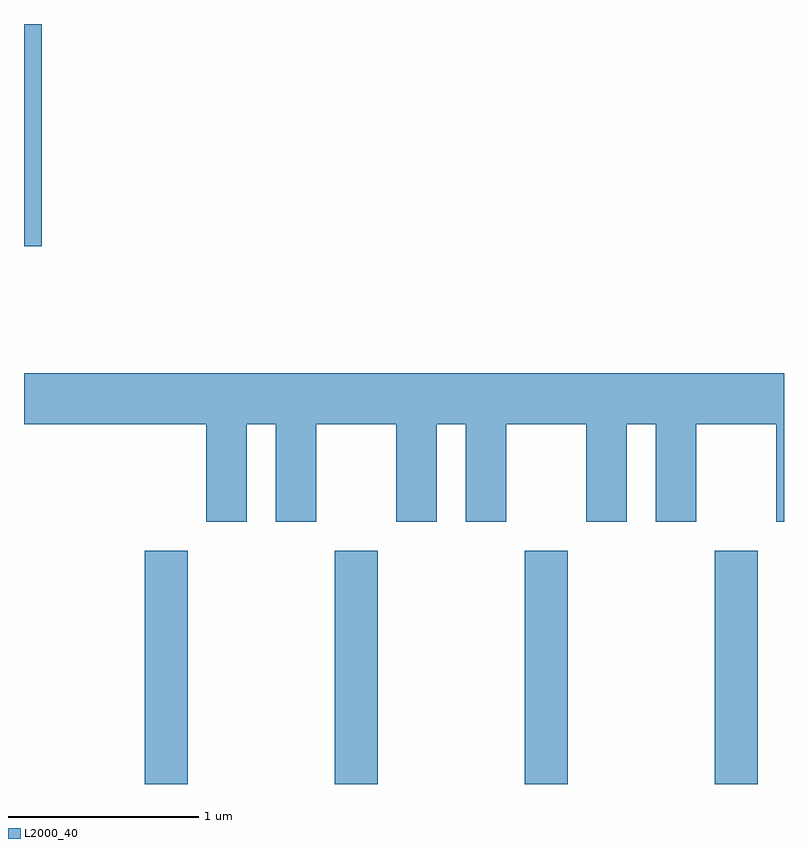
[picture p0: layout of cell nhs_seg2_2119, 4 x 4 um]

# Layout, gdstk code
import gdstk
lib = gdstk.Library(unit=1e-6, precision=1e-09)
def R(c, l, rs):  # rectangles x0, y0, x1, y1
    for r in rs: c.add(gdstk.rectangle(r[:2], r[2:], *l))
def A(c, l, x, y, w, h, nx, ny, dx, dy):  # array of equal rectangles
    R(c, l, [(x+i*dx, y+j*dy, x+i*dx+w, y+j*dy+h) for i in range(nx) for j in range(ny)])
def P(c, l, *ps):  # polygons
    for p in ps: c.add(gdstk.Polygon(p, *l))
L2000_40 = (2000, 40)

nhs_seg2_2119 = lib.new_cell('nhs_seg2_2119')
A(nhs_seg2_2119, L2000_40, 248.246, 999.802, 0.228, 1.227, 4, 1, 1, 0)
R(nhs_seg2_2119, L2000_40, [(247.611,1002.631,247.704,1003.802)])
P(nhs_seg2_2119, L2000_40, [(248.784,1001.696),(248.936,1001.696),(248.936,1001.181),(249.149,1001.181),(249.149,1001.696),(249.571,1001.696),(249.571,1001.181),(249.784,1001.181),(249.784,1001.696),(249.936,1001.696),(249.936,1001.181),(250.149,1001.181),(250.149,1001.696),(250.571,1001.696),(250.571,1001.181),(250.784,1001.181),(250.784,1001.696),(250.936,1001.696),(250.936,1001.181),(251.149,1001.181),(251.149,1001.696),(251.571,1001.696),(251.571,1001.181),(251.611,1001.181),(251.611,1001.964),(247.611,1001.964),(247.611,1001.696),(248.571,1001.696),(248.571,1001.181),(248.784,1001.181)])

lib.write_gds('nhs_seg2_2119.gds')
